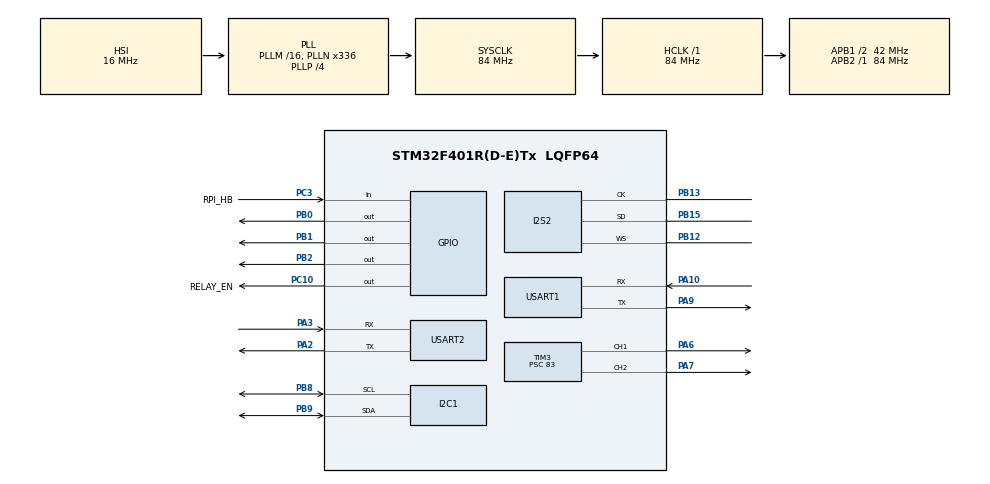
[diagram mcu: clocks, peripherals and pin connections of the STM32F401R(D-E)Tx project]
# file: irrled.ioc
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Dma.Request0=SPI2_RX
Dma.SPI2_RX.0.Direction=DMA_PERIPH_TO_MEMORY
Dma.SPI2_RX.0.FIFOMode=DMA_FIFOMODE_DISABLE
Dma.SPI2_RX.0.Instance=DMA1_Stream3
Dma.SPI2_RX.0.MemDataAlignment=DMA_MDATAALIGN_HALFWORD
Dma.SPI2_RX.0.MemInc=DMA_MINC_ENABLE
Dma.SPI2_RX.0.Mode=DMA_CIRCULAR
Dma.SPI2_RX.0.PeriphDataAlignment=DMA_PDATAALIGN_HALFWORD
Dma.SPI2_RX.0.PeriphInc=DMA_PINC_DISABLE
Dma.SPI2_RX.0.Priority=DMA_PRIORITY_LOW
FREERTOS.Mutexes01=uart_tx_mutex,Dynamic,NULL,Available
FREERTOS.Queues01=uart_rx_queue,256,uint8_t,0,Dynamic,NULL,NULL;control_queue,64,uint8_t,0,Dynamic,NULL,NULL
FREERTOS.Tasks01=defaultTask,24,128,StartDefaultTask,Default,NULL,Dynamic,NULL,NULL;UartRxTask,32,512,StartUartRxTask,Default,NULL,Dynamic,NULL,NULL;ControlTask,24,384,StartControlTask,Default,NULL,Dynamic,NULL,NULL;SensorTask,16,384,StartSensorTask,Default,NULL,Dynamic,NULL,NULL
FREERTOS.configUSE_NEWLIB_REENTRANT=1
I2S2.AudioFreq=I2S_AUDIOFREQ_16K
I2S2.DataFormat=I2S_DATAFORMAT_24B
I2S2.ErrorAudioFreq=-0.26 %
I2S2.FullDuplexMode=I2S_FULLDUPLEXMODE_DISABLE
I2S2.Instance=SPI$Index
I2S2.Mode=I2S_MODE_MASTER_RX
I2S2.RealAudioFreq=15.957 KHz
I2S2.VirtualMode=I2S_MODE_MASTER
IWDG.Prescaler=IWDG_PRESCALER_256
IWDG.Reload=625
Mcu.Family=STM32F4
Mcu.Name=STM32F401R(D-E)Tx
Mcu.Package=LQFP64
NVIC.DMA1_Stream3_IRQn=true\:5\:0\:false\:false\:true\:true\:false\:true\:true
NVIC.PriorityGroup=NVIC_PRIORITYGROUP_4
NVIC.TIM1_TRG_COM_TIM11_IRQn=true\:15\:0\:true\:false\:true\:true\:false\:true\:true
NVIC.TIM1_UP_TIM10_IRQn=true\:15\:0\:false\:false\:true\:false\:false\:true\:true
NVIC.TimeBase=TIM1_UP_TIM10_IRQn
NVIC.TimeBaseIP=TIM1
NVIC.USART1_IRQn=true\:5\:0\:false\:false\:true\:true\:true\:true\:true
NVIC.USART2_IRQn=true\:5\:0\:false\:false\:true\:true\:true\:true\:true
PA10.Mode=Asynchronous
PA10.Signal=USART1_RX
PA2.Mode=Asynchronous
PA2.Signal=USART2_TX
PA3.Mode=Asynchronous
PA3.Signal=USART2_RX
PA4.Signal=ADCx_IN4
PA5.Signal=ADCx_IN5
PA6.Signal=S_TIM3_CH1
PA7.Signal=S_TIM3_CH2
PA9.Mode=Asynchronous
PA9.Signal=USART1_TX
PB0.Signal=GPIO_Output
PB1.Signal=GPIO_Output
PB12.Mode=Half_Duplex_Master
PB12.Signal=I2S2_WS
PB13.Mode=Half_Duplex_Master
PB13.Signal=I2S2_CK
PB15.Mode=Half_Duplex_Master
PB15.Signal=I2S2_SD
PB2.Signal=GPIO_Output
PB8.Mode=I2C
PB8.Signal=I2C1_SCL
PB9.Mode=I2C
PB9.Signal=I2C1_SDA
PC0.Signal=ADCx_IN10
PC10.GPIO_Label=RELAY_EN
PC10.Signal=GPIO_Output
PC3.GPIO_Label=RPI_HB
PC3.GPIO_PuPd=GPIO_PULLDOWN
PC3.Signal=GPIO_Input
ProjectManager.HeapSize=0x200
ProjectManager.StackSize=0x400
ProjectManager.TargetToolchain=STM32CubeIDE
RCC.48MHZClocksFreq_Value=84000000
RCC.AHBFreq_Value=84000000
RCC.APB1CLKDivider=RCC_HCLK_DIV2
RCC.APB1Freq_Value=42000000
RCC.APB1TimFreq_Value=84000000
RCC.APB2Freq_Value=84000000
RCC.APB2TimFreq_Value=84000000
RCC.CortexFreq_Value=84000000
RCC.HCLKFreq_Value=84000000
RCC.HSE_VALUE=8000000
RCC.HSI_VALUE=16000000
RCC.LSE_VALUE=32768
RCC.PLLN=336
RCC.PLLP=RCC_PLLP_DIV4
RCC.SYSCLKFreq_VALUE=84000000
RCC.SYSCLKSource=RCC_SYSCLKSOURCE_PLLCLK
RCC.VCOOutputFreq_Value=336000000
SH.ADCx_IN10.0=ADC1_IN10
SH.ADCx_IN4.0=ADC1_IN4
SH.ADCx_IN5.0=ADC1_IN5
SH.S_TIM3_CH1.0=TIM3_CH1,PWM Generation1 CH1
SH.S_TIM3_CH2.0=TIM3_CH2,PWM Generation2 CH2
TIM11.Period=999
TIM11.Prescaler=83
TIM3.Channel-PWM\ Generation1\ CH1=TIM_CHANNEL_1
TIM3.Channel-PWM\ Generation2\ CH2=TIM_CHANNEL_2
TIM3.Period=19999
TIM3.Prescaler=83
USART1.VirtualMode=VM_ASYNC
USART2.VirtualMode=VM_ASYNC
VP_FREERTOS_VS_CMSIS_V2.Mode=CMSIS_V2
VP_IWDG_VS_IWDG.Mode=IWDG_Activate
VP_SYS_VS_tim1.Mode=TIM1
VP_TIM11_VS_ClockSourceINT.Mode=Enable_Timer
VP_TIM3_VS_ClockSourceINT.Mode=Internal
board=custom

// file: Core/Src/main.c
/* USER CODE BEGIN Header */
/**
  ******************************************************************************
  * @file           : main.c
  * @brief          : Main program body
  ******************************************************************************
  * @attention
  *
  * Copyright (c) 2026 STMicroelectronics.
  * All rights reserved.
  *
  * This software is licensed under terms that can be found in the LICENSE file
  * in the root directory of this software component.
  * If no LICENSE file comes with this software, it is provided AS-IS.
  *
  ******************************************************************************
  */
//check0223ssfff
/* USER CODE END Header */
#include "main.h"
#include "cmsis_os.h"

/* USER CODE BEGIN Includes */
#include "app.h"
#include "ir_led.h"
#include "rpi_watchdog.h"
#include "sys_watchdog.h"

/* USER CODE END Includes */

/* USER CODE BEGIN PD */
#define RPI_WDG_GRACE_SEC           60U
#define RPI_HEARTBEAT_TIMEOUT_MS 10000U
#define RPI_RELAY_CUT_SEC            3U
#define RPI_WDG_POLL_MS             10U

#define SYS_MONITOR_PERIOD_MS     1000U
/* With ~5s IWDG timeout, allow up to 3 missed checks and stop refresh on 4th miss */
#define SYS_MONITOR_MISS_MAX         4U
#define RPI_WDG_UART_LOG_ENABLE      0U

/* USER CODE END PD */

I2C_HandleTypeDef hi2c1;

I2S_HandleTypeDef hi2s2;
DMA_HandleTypeDef hdma_spi2_rx;

IWDG_HandleTypeDef hiwdg;

TIM_HandleTypeDef htim3;
TIM_HandleTypeDef htim11;

UART_HandleTypeDef huart1;
UART_HandleTypeDef huart2;

/* Definitions for defaultTask */
osThreadId_t defaultTaskHandle;
const osThreadAttr_t defaultTask_attributes = {
  .name = "defaultTask",
  /* Watchdog task uses UART log formatting path; keep enough stack margin */
  .stack_size = 384 * 4,
  .priority = (osPriority_t) osPriorityNormal,
};
/* Definitions for UartRxTask */
osThreadId_t UartRxTaskHandle;
const osThreadAttr_t UartRxTask_attributes = {
  .name = "UartRxTask",
  .stack_size = 512 * 4,
  .priority = (osPriority_t) osPriorityNormal,
};
/* Definitions for ControlTask */
osThreadId_t ControlTaskHandle;
const osThreadAttr_t ControlTask_attributes = {
  .name = "ControlTask",
  .stack_size = 384 * 4,
  .priority = (osPriority_t) osPriorityNormal,
};
/* Definitions for SensorTask */
osThreadId_t SensorTaskHandle;
const osThreadAttr_t SensorTask_attributes = {
  .name = "SensorTask",
  .stack_size = 384 * 4,
  .priority = (osPriority_t) osPriorityBelowNormal,
};
/* Definitions for uart_rx_queue */
osMessageQueueId_t uart_rx_queueHandle;
const osMessageQueueAttr_t uart_rx_queue_attributes = {
  .name = "uart_rx_queue"
};
/* Definitions for control_queue */
osMessageQueueId_t control_queueHandle;
const osMessageQueueAttr_t control_queue_attributes = {
  .name = "control_queue"
};
/* Definitions for uart_tx_mutex */
osMutexId_t uart_tx_mutexHandle;
const osMutexAttr_t uart_tx_mutex_attributes = {
  .name = "uart_tx_mutex"
};
/* USER CODE BEGIN PV */
#ifdef HAL_ADC_MODULE_ENABLED
static uint16_t Read_ADC_PC0(void);
#endif

static osThreadId_t SystemMonitorTaskHandle;
static const osThreadAttr_t SystemMonitorTask_attributes = {
  .name = "SystemMonitorTask",
  .stack_size = 256 * 4,
  .priority = (osPriority_t) osPriorityAboveNormal,
};

/* USER CODE END PV */

void SystemClock_Config(void);
static void MX_GPIO_Init(void);
static void MX_DMA_Init(void);
static void MX_USART2_UART_Init(void);
static void MX_TIM3_Init(void);
static void MX_USART1_UART_Init(void);
static void MX_I2C1_Init(void);
static void MX_TIM11_Init(void);
static void MX_I2S2_Init(void);
static void MX_IWDG_Init(void);
void StartDefaultTask(void *argument);
void StartUartRxTask(void *argument);
void StartControlTask(void *argument);
void StartSensorTask(void *argument);

/* USER CODE BEGIN PFP */
void StartSystemMonitorTask(void *argument);

/* USER CODE END PFP */

/* USER CODE BEGIN 0 */
int _write(int file, char *ptr, int len)
{
    (void)file;
    if ((ptr != NULL) && (len > 0)) {
      (void)HAL_UART_Transmit(&huart2, (uint8_t *)ptr, (uint16_t)len, 100U);
    }
    return len;
}
/* USER CODE END 0 */

int main(void)
{

  /* MCU Configuration--------------------------------------------------------*/

  /* Reset of all peripherals, Initializes the Flash interface and the Systick. */
  HAL_Init();

  /* Configure the system clock */
  SystemClock_Config();

  /* Initialize all configured peripherals */
  MX_GPIO_Init();
  MX_DMA_Init();
  MX_USART2_UART_Init();
  MX_TIM3_Init();
  MX_USART1_UART_Init();
  MX_I2C1_Init();
  MX_TIM11_Init();
  MX_I2S2_Init();
  MX_IWDG_Init();
  /* USER CODE BEGIN 2 */
  HAL_TIM_PWM_Start(&htim3, TIM_CHANNEL_1);
  __HAL_TIM_SET_COMPARE(&htim3, TIM_CHANNEL_1, 1500);
  //HAL_GPIO_WritePin(GPIOA, GPIO_PIN_5, GPIO_PIN_RESET);
  /* UART2 boot message is currently disabled */
  // const char *msg = "BOOT\r\n";
  // HAL_UART_Transmit(&huart2, (uint8_t*)msg, strlen(msg), 100);
  IR_LED_All_On();   // PB0, PB1, PB2 ON
  //IR_LED_All_Off(); // PB0, PB1, PB2 OFF
  // HAL_ADC_Start(&hadc1); // ADC path disabled (I2S path in use)
//  HAL_TIM_PWM_Start(&htim3, TIM_CHANNEL_1);

  const rpi_watchdog_cfg_t rpi_wdg_cfg = {
    .grace_sec = RPI_WDG_GRACE_SEC,
    .heartbeat_timeout_ms = RPI_HEARTBEAT_TIMEOUT_MS,
    .relay_cut_sec = RPI_RELAY_CUT_SEC,
    .poll_ms = RPI_WDG_POLL_MS,
    .uart_log_enable = (uint8_t)RPI_WDG_UART_LOG_ENABLE
  };
  const sys_watchdog_cfg_t sys_wdg_cfg = {
    .period_ms = SYS_MONITOR_PERIOD_MS,
    .miss_max = SYS_MONITOR_MISS_MAX
  };

  rpi_watchdog_init(&huart2, &rpi_wdg_cfg);
  sys_watchdog_init(&hiwdg, &sys_wdg_cfg);
  rpi_watchdog_log_boot_status(&hiwdg, sys_wdg_cfg.miss_max);

  app_init();

  /* USER CODE END 2 */

  /* Init scheduler */
  osKernelInitialize();
  /* Create the mutex(es) */
  /* creation of uart_tx_mutex */
  uart_tx_mutexHandle = osMutexNew(&uart_tx_mutex_attributes);

  /* Create the queue(s) */
  /* creation of uart_rx_queue */
  uart_rx_queueHandle = osMessageQueueNew (256, sizeof(uint8_t), &uart_rx_queue_attributes);

  /* creation of control_queue */
  control_queueHandle = osMessageQueueNew (64, sizeof(uint8_t), &control_queue_attributes);

  /* Create the thread(s) */
  /* creation of defaultTask */
  defaultTaskHandle = osThreadNew(StartDefaultTask, NULL, &defaultTask_attributes);

  /* creation of UartRxTask */
  UartRxTaskHandle = osThreadNew(StartUartRxTask, NULL, &UartRxTask_attributes);

  /* creation of ControlTask */
  ControlTaskHandle = osThreadNew(StartControlTask, NULL, &ControlTask_attributes);

  /* creation of SensorTask */
  SensorTaskHandle = osThreadNew(StartSensorTask, NULL, &SensorTask_attributes);

  /* USER CODE BEGIN RTOS_THREADS */
  SystemMonitorTaskHandle = osThreadNew(StartSystemMonitorTask, NULL, &SystemMonitorTask_attributes);
  /* USER CODE END RTOS_THREADS */

  /* Start scheduler */
  osKernelStart();

  /* We should never get here as control is now taken by the scheduler */

  /* Infinite loop */
  while (1)
  {

  }
}

void SystemClock_Config(void)
{
  RCC_OscInitTypeDef RCC_OscInitStruct = {0};
  RCC_ClkInitTypeDef RCC_ClkInitStruct = {0};

  /** Configure the main internal regulator output voltage
  */
  __HAL_RCC_PWR_CLK_ENABLE();
  __HAL_PWR_VOLTAGESCALING_CONFIG(PWR_REGULATOR_VOLTAGE_SCALE2);

  /** Initializes the RCC Oscillators according to the specified parameters
  * in the RCC_OscInitTypeDef structure.
  */
  RCC_OscInitStruct.OscillatorType = RCC_OSCILLATORTYPE_HSI|RCC_OSCILLATORTYPE_LSI;
  RCC_OscInitStruct.HSIState = RCC_HSI_ON;
  RCC_OscInitStruct.HSICalibrationValue = RCC_HSICALIBRATION_DEFAULT;
  RCC_OscInitStruct.LSIState = RCC_LSI_ON;
  RCC_OscInitStruct.PLL.PLLState = RCC_PLL_ON;
  RCC_OscInitStruct.PLL.PLLSource = RCC_PLLSOURCE_HSI;
  RCC_OscInitStruct.PLL.PLLM = 16;
  RCC_OscInitStruct.PLL.PLLN = 336;
  RCC_OscInitStruct.PLL.PLLP = RCC_PLLP_DIV4;
  RCC_OscInitStruct.PLL.PLLQ = 4;
  if (HAL_RCC_OscConfig(&RCC_OscInitStruct) != HAL_OK)
  {
    Error_Handler();
  }

  /** Initializes the CPU, AHB and APB buses clocks
  */
  RCC_ClkInitStruct.ClockType = RCC_CLOCKTYPE_HCLK|RCC_CLOCKTYPE_SYSCLK
                              |RCC_CLOCKTYPE_PCLK1|RCC_CLOCKTYPE_PCLK2;
  RCC_ClkInitStruct.SYSCLKSource = RCC_SYSCLKSOURCE_PLLCLK;
  RCC_ClkInitStruct.AHBCLKDivider = RCC_SYSCLK_DIV1;
  RCC_ClkInitStruct.APB1CLKDivider = RCC_HCLK_DIV2;
  RCC_ClkInitStruct.APB2CLKDivider = RCC_HCLK_DIV1;

  if (HAL_RCC_ClockConfig(&RCC_ClkInitStruct, FLASH_LATENCY_2) != HAL_OK)
  {
    Error_Handler();
  }
}

static void MX_I2C1_Init(void)
{

  hi2c1.Instance = I2C1;
  hi2c1.Init.ClockSpeed = 100000;
  hi2c1.Init.DutyCycle = I2C_DUTYCYCLE_2;
  hi2c1.Init.OwnAddress1 = 0;
  hi2c1.Init.AddressingMode = I2C_ADDRESSINGMODE_7BIT;
  hi2c1.Init.DualAddressMode = I2C_DUALADDRESS_DISABLE;
  hi2c1.Init.OwnAddress2 = 0;
  hi2c1.Init.GeneralCallMode = I2C_GENERALCALL_DISABLE;
  hi2c1.Init.NoStretchMode = I2C_NOSTRETCH_DISABLE;
  if (HAL_I2C_Init(&hi2c1) != HAL_OK)
  {
    Error_Handler();
  }

}

static void MX_I2S2_Init(void)
{

  hi2s2.Instance = SPI2;
  hi2s2.Init.Mode = I2S_MODE_MASTER_RX;
  hi2s2.Init.Standard = I2S_STANDARD_PHILIPS;
  hi2s2.Init.DataFormat = I2S_DATAFORMAT_24B;
  hi2s2.Init.MCLKOutput = I2S_MCLKOUTPUT_DISABLE;
  hi2s2.Init.AudioFreq = I2S_AUDIOFREQ_16K;
  hi2s2.Init.CPOL = I2S_CPOL_LOW;
  hi2s2.Init.ClockSource = I2S_CLOCK_PLL;
  hi2s2.Init.FullDuplexMode = I2S_FULLDUPLEXMODE_DISABLE;
  if (HAL_I2S_Init(&hi2s2) != HAL_OK)
  {
    Error_Handler();
  }

}

static void MX_IWDG_Init(void)
{

  hiwdg.Instance = IWDG;
  hiwdg.Init.Prescaler = IWDG_PRESCALER_256;
  hiwdg.Init.Reload = 625;
  if (HAL_IWDG_Init(&hiwdg) != HAL_OK)
  {
    Error_Handler();
  }

}

static void MX_TIM3_Init(void)
{

  TIM_ClockConfigTypeDef sClockSourceConfig = {0};
  TIM_MasterConfigTypeDef sMasterConfig = {0};
  TIM_OC_InitTypeDef sConfigOC = {0};

  htim3.Instance = TIM3;
  htim3.Init.Prescaler = 83;
  htim3.Init.CounterMode = TIM_COUNTERMODE_UP;
  htim3.Init.Period = 19999;
  htim3.Init.ClockDivision = TIM_CLOCKDIVISION_DIV1;
  htim3.Init.AutoReloadPreload = TIM_AUTORELOAD_PRELOAD_DISABLE;
  if (HAL_TIM_Base_Init(&htim3) != HAL_OK)
  {
    Error_Handler();
  }
  sClockSourceConfig.ClockSource = TIM_CLOCKSOURCE_INTERNAL;
  if (HAL_TIM_ConfigClockSource(&htim3, &sClockSourceConfig) != HAL_OK)
  {
    Error_Handler();
  }
  if (HAL_TIM_PWM_Init(&htim3) != HAL_OK)
  {
    Error_Handler();
  }
  sMasterConfig.MasterOutputTrigger = TIM_TRGO_RESET;
  sMasterConfig.MasterSlaveMode = TIM_MASTERSLAVEMODE_DISABLE;
  if (HAL_TIMEx_MasterConfigSynchronization(&htim3, &sMasterConfig) != HAL_OK)
  {
    Error_Handler();
  }
  sConfigOC.OCMode = TIM_OCMODE_PWM1;
  sConfigOC.Pulse = 0;
  sConfigOC.OCPolarity = TIM_OCPOLARITY_HIGH;
  sConfigOC.OCFastMode = TIM_OCFAST_DISABLE;
  if (HAL_TIM_PWM_ConfigChannel(&htim3, &sConfigOC, TIM_CHANNEL_1) != HAL_OK)
  {
    Error_Handler();
  }
  if (HAL_TIM_PWM_ConfigChannel(&htim3, &sConfigOC, TIM_CHANNEL_2) != HAL_OK)
  {
    Error_Handler();
  }
  HAL_TIM_MspPostInit(&htim3);

}

static void MX_TIM11_Init(void)
{

  htim11.Instance = TIM11;
  htim11.Init.Prescaler = 83;
  htim11.Init.CounterMode = TIM_COUNTERMODE_UP;
  htim11.Init.Period = 999;
  htim11.Init.ClockDivision = TIM_CLOCKDIVISION_DIV1;
  htim11.Init.AutoReloadPreload = TIM_AUTORELOAD_PRELOAD_DISABLE;
  if (HAL_TIM_Base_Init(&htim11) != HAL_OK)
  {
    Error_Handler();
  }

}

static void MX_USART1_UART_Init(void)
{

  huart1.Instance = USART1;
  huart1.Init.BaudRate = 115200;
  huart1.Init.WordLength = UART_WORDLENGTH_8B;
  huart1.Init.StopBits = UART_STOPBITS_1;
  huart1.Init.Parity = UART_PARITY_NONE;
  huart1.Init.Mode = UART_MODE_TX_RX;
  huart1.Init.HwFlowCtl = UART_HWCONTROL_NONE;
  huart1.Init.OverSampling = UART_OVERSAMPLING_16;
  if (HAL_UART_Init(&huart1) != HAL_OK)
  {
    Error_Handler();
  }

}

static void MX_USART2_UART_Init(void)
{

  huart2.Instance = USART2;
  huart2.Init.BaudRate = 115200;
  huart2.Init.WordLength = UART_WORDLENGTH_8B;
  huart2.Init.StopBits = UART_STOPBITS_1;
  huart2.Init.Parity = UART_PARITY_NONE;
  huart2.Init.Mode = UART_MODE_TX_RX;
  huart2.Init.HwFlowCtl = UART_HWCONTROL_NONE;
  huart2.Init.OverSampling = UART_OVERSAMPLING_16;
  if (HAL_UART_Init(&huart2) != HAL_OK)
  {
    Error_Handler();
  }

}

static void MX_DMA_Init(void)
{

  /* DMA controller clock enable */
  __HAL_RCC_DMA1_CLK_ENABLE();

  /* DMA interrupt init */
  /* DMA1_Stream3_IRQn interrupt configuration */
  HAL_NVIC_SetPriority(DMA1_Stream3_IRQn, 5, 0);
  HAL_NVIC_EnableIRQ(DMA1_Stream3_IRQn);

}

static void MX_GPIO_Init(void)
{
  GPIO_InitTypeDef GPIO_InitStruct = {0};

  /* GPIO Ports Clock Enable */
  __HAL_RCC_GPIOC_CLK_ENABLE();
  __HAL_RCC_GPIOA_CLK_ENABLE();
  __HAL_RCC_GPIOB_CLK_ENABLE();

  /*Configure GPIO pin Output Level */
  HAL_GPIO_WritePin(GPIOB, GPIO_PIN_0|GPIO_PIN_1|GPIO_PIN_2, GPIO_PIN_RESET);

  /*Configure GPIO pin Output Level */
  HAL_GPIO_WritePin(RELAY_EN_GPIO_Port, RELAY_EN_Pin, GPIO_PIN_RESET);

  /*Configure GPIO pin : PC0 */
  GPIO_InitStruct.Pin = GPIO_PIN_0;
  GPIO_InitStruct.Mode = GPIO_MODE_ANALOG;
  GPIO_InitStruct.Pull = GPIO_NOPULL;
  HAL_GPIO_Init(GPIOC, &GPIO_InitStruct);

  /*Configure GPIO pin : RPI_HB_Pin */
  GPIO_InitStruct.Pin = RPI_HB_Pin;
  GPIO_InitStruct.Mode = GPIO_MODE_INPUT;
  GPIO_InitStruct.Pull = GPIO_PULLDOWN;
  HAL_GPIO_Init(RPI_HB_GPIO_Port, &GPIO_InitStruct);

  /*Configure GPIO pins : PA4 PA5 */
  GPIO_InitStruct.Pin = GPIO_PIN_4|GPIO_PIN_5;
  GPIO_InitStruct.Mode = GPIO_MODE_ANALOG;
  GPIO_InitStruct.Pull = GPIO_NOPULL;
  HAL_GPIO_Init(GPIOA, &GPIO_InitStruct);

  /*Configure GPIO pins : PB0 PB1 PB2 */
  GPIO_InitStruct.Pin = GPIO_PIN_0|GPIO_PIN_1|GPIO_PIN_2;
  GPIO_InitStruct.Mode = GPIO_MODE_OUTPUT_PP;
  GPIO_InitStruct.Pull = GPIO_NOPULL;
  GPIO_InitStruct.Speed = GPIO_SPEED_FREQ_LOW;
  HAL_GPIO_Init(GPIOB, &GPIO_InitStruct);

  /*Configure GPIO pin : RELAY_EN_Pin */
  GPIO_InitStruct.Pin = RELAY_EN_Pin;
  GPIO_InitStruct.Mode = GPIO_MODE_OUTPUT_PP;
  GPIO_InitStruct.Pull = GPIO_NOPULL;
  GPIO_InitStruct.Speed = GPIO_SPEED_FREQ_LOW;
  HAL_GPIO_Init(RELAY_EN_GPIO_Port, &GPIO_InitStruct);

}

/* USER CODE BEGIN 4 */
#ifdef HAL_ADC_MODULE_ENABLED
static uint16_t Read_ADC_PC0(void)
{
  HAL_ADC_Start(&hadc1);

  if (HAL_ADC_PollForConversion(&hadc1, 10) != HAL_OK) {
    HAL_ADC_Stop(&hadc1);
    return 0;
  }

  uint16_t v = (uint16_t)HAL_ADC_GetValue(&hadc1);
  HAL_ADC_Stop(&hadc1);
  return v;
}
#endif

void StartSystemMonitorTask(void *argument)
{
  sys_watchdog_task(argument);
}
/* USER CODE END 4 */

void StartDefaultTask(void *argument)
{
  /* USER CODE BEGIN 5 */
  rpi_watchdog_task(argument);
  /* USER CODE END 5 */
}

void StartUartRxTask(void *argument)
{
  /* USER CODE BEGIN StartUartRxTask */
  uint8_t rx_byte = 0U;

  /* Infinite loop */
  for(;;)
  {
    if (osMessageQueueGet(uart_rx_queueHandle, &rx_byte, NULL, osWaitForever) == osOK) {
      app_on_uart1_byte(rx_byte);
    }
  }
  /* USER CODE END StartUartRxTask */
}

void StartControlTask(void *argument)
{
  /* USER CODE BEGIN StartControlTask */
  /* Infinite loop */
  for(;;)
  {
    app_control_loop();
    osDelay(10);
  }
  /* USER CODE END StartControlTask */
}

void StartSensorTask(void *argument)
{
  /* USER CODE BEGIN StartSensorTask */
  /* Infinite loop */
  for(;;)
  {
    app_sensor_loop();
    osDelay(20);
  }
  /* USER CODE END StartSensorTask */
}

void HAL_TIM_PeriodElapsedCallback(TIM_HandleTypeDef *htim)
{
  if (htim->Instance == TIM1)
  {
    HAL_IncTick();
  }
}

void Error_Handler(void)
{
  __disable_irq();
  while (1)
  {
  }
}
